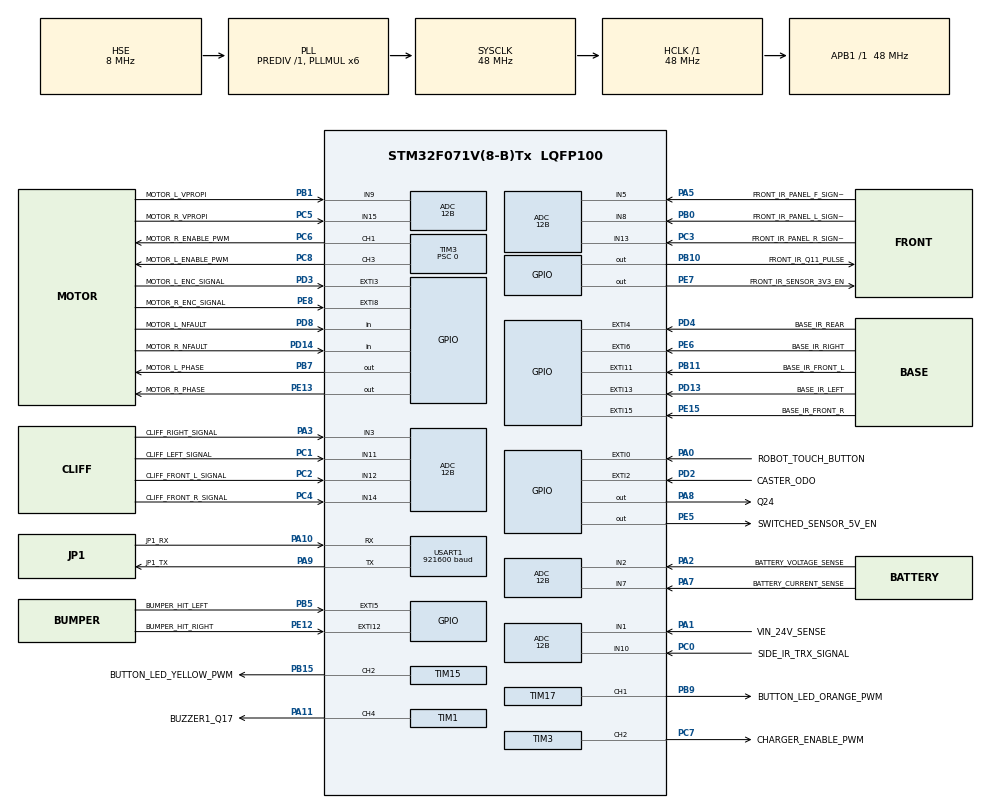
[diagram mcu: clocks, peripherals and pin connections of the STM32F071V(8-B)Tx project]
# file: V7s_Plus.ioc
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ADC.Channel-0\#ChannelRegularConversion=ADC_CHANNEL_9
ADC.Channel-1\#ChannelRegularConversion=ADC_CHANNEL_15
ADC.Channel-10\#ChannelRegularConversion=ADC_CHANNEL_7
ADC.Channel-11\#ChannelRegularConversion=ADC_CHANNEL_2
ADC.Channel-12\#ChannelRegularConversion=ADC_CHANNEL_1
ADC.Channel-2\#ChannelRegularConversion=ADC_CHANNEL_13
ADC.Channel-3\#ChannelRegularConversion=ADC_CHANNEL_5
ADC.Channel-4\#ChannelRegularConversion=ADC_CHANNEL_8
ADC.Channel-5\#ChannelRegularConversion=ADC_CHANNEL_3
ADC.Channel-6\#ChannelRegularConversion=ADC_CHANNEL_10
ADC.Channel-7\#ChannelRegularConversion=ADC_CHANNEL_11
ADC.Channel-8\#ChannelRegularConversion=ADC_CHANNEL_12
ADC.Channel-9\#ChannelRegularConversion=ADC_CHANNEL_14
ADC.ClockPrescaler=ADC_CLOCK_ASYNC_DIV1
ADC.ContinuousConvMode=DISABLE
ADC.DMAContinuousRequests=DISABLE
ADC.DataAlign=ADC_DATAALIGN_RIGHT
ADC.DiscontinuousConvMode=DISABLE
ADC.EOCSelection=ADC_EOC_SINGLE_CONV
ADC.ExternalTrigConv=ADC_EXTERNALTRIGCONV_T2_TRGO
ADC.ExternalTrigConvEdge=ADC_EXTERNALTRIGCONVEDGE_RISING
ADC.LowPowerAutoPowerOff=DISABLE
ADC.LowPowerAutoWait=DISABLE
ADC.NbrOfConversion=13
ADC.NbrOfConversionFlag=1
ADC.Overrun=ADC_OVR_DATA_PRESERVED
ADC.Rank-0\#ChannelRegularConversion=ADC_RANK_CHANNEL_NUMBER
ADC.Rank-1\#ChannelRegularConversion=ADC_RANK_CHANNEL_NUMBER
ADC.Rank-10\#ChannelRegularConversion=ADC_RANK_CHANNEL_NUMBER
ADC.Rank-11\#ChannelRegularConversion=ADC_RANK_CHANNEL_NUMBER
ADC.Rank-12\#ChannelRegularConversion=ADC_RANK_CHANNEL_NUMBER
ADC.Rank-2\#ChannelRegularConversion=ADC_RANK_CHANNEL_NUMBER
ADC.Rank-3\#ChannelRegularConversion=ADC_RANK_CHANNEL_NUMBER
ADC.Rank-4\#ChannelRegularConversion=ADC_RANK_CHANNEL_NUMBER
ADC.Rank-5\#ChannelRegularConversion=ADC_RANK_CHANNEL_NUMBER
ADC.Rank-6\#ChannelRegularConversion=ADC_RANK_CHANNEL_NUMBER
ADC.Rank-7\#ChannelRegularConversion=ADC_RANK_CHANNEL_NUMBER
ADC.Rank-8\#ChannelRegularConversion=ADC_RANK_CHANNEL_NUMBER
ADC.Rank-9\#ChannelRegularConversion=ADC_RANK_CHANNEL_NUMBER
ADC.Resolution=ADC_RESOLUTION_12B
ADC.SamplingTime-0\#ChannelRegularConversion=ADC_SAMPLETIME_239CYCLES_5
ADC.SamplingTime-1\#ChannelRegularConversion=ADC_SAMPLETIME_239CYCLES_5
ADC.SamplingTime-10\#ChannelRegularConversion=ADC_SAMPLETIME_239CYCLES_5
ADC.SamplingTime-11\#ChannelRegularConversion=ADC_SAMPLETIME_239CYCLES_5
ADC.SamplingTime-12\#ChannelRegularConversion=ADC_SAMPLETIME_239CYCLES_5
ADC.SamplingTime-2\#ChannelRegularConversion=ADC_SAMPLETIME_239CYCLES_5
ADC.SamplingTime-3\#ChannelRegularConversion=ADC_SAMPLETIME_239CYCLES_5
ADC.SamplingTime-4\#ChannelRegularConversion=ADC_SAMPLETIME_239CYCLES_5
ADC.SamplingTime-5\#ChannelRegularConversion=ADC_SAMPLETIME_239CYCLES_5
ADC.SamplingTime-6\#ChannelRegularConversion=ADC_SAMPLETIME_239CYCLES_5
ADC.SamplingTime-7\#ChannelRegularConversion=ADC_SAMPLETIME_239CYCLES_5
ADC.SamplingTime-8\#ChannelRegularConversion=ADC_SAMPLETIME_239CYCLES_5
ADC.SamplingTime-9\#ChannelRegularConversion=ADC_SAMPLETIME_239CYCLES_5
ADC.ScanConvMode=ADC_SCAN_DIRECTION_FORWARD
ADC.master=1
Dma.Request0=USART1_RX
Dma.USART1_RX.0.Direction=DMA_PERIPH_TO_MEMORY
Dma.USART1_RX.0.Instance=DMA1_Channel3
Dma.USART1_RX.0.MemDataAlignment=DMA_MDATAALIGN_BYTE
Dma.USART1_RX.0.MemInc=DMA_MINC_ENABLE
Dma.USART1_RX.0.Mode=DMA_CIRCULAR
Dma.USART1_RX.0.PeriphDataAlignment=DMA_PDATAALIGN_BYTE
Dma.USART1_RX.0.PeriphInc=DMA_PINC_DISABLE
Dma.USART1_RX.0.Priority=DMA_PRIORITY_LOW
Mcu.Family=STM32F0
Mcu.Name=STM32F071V(8-B)Tx
Mcu.Package=LQFP100
NVIC.DMA1_Channel2_3_IRQn=true\:2\:0\:true\:false\:true\:false\:true\:true
NVIC.EXTI0_1_IRQn=true\:1\:0\:true\:false\:true\:true\:true\:true
NVIC.EXTI2_3_IRQn=true\:2\:0\:true\:false\:true\:true\:true\:true
NVIC.EXTI4_15_IRQn=true\:1\:0\:true\:false\:true\:true\:true\:true
PA0.GPIO_Label=ROBOT_TOUCH_BUTTON
PA0.GPIO_ModeDefaultEXTI=GPIO_MODE_IT_RISING_FALLING
PA0.GPIO_PuPd=GPIO_NOPULL
PA0.Signal=GPXTI0
PA1.GPIO_Label=VIN_24V_SENSE
PA1.Mode=IN1
PA1.Signal=ADC_IN1
PA10.GPIO_Label=JP1_RX
PA10.Mode=Asynchronous
PA10.Signal=USART1_RX
PA11.GPIO_Label=BUZZER1_Q17
PA11.Signal=S_TIM1_CH4
PA13.Mode=Serial_Wire
PA13.Signal=SYS_SWDIO
PA14.Mode=Serial_Wire
PA14.Signal=SYS_SWCLK
PA2.GPIO_Label=BATTERY_VOLTAGE_SENSE
PA2.Mode=IN2
PA2.Signal=ADC_IN2
PA3.GPIO_Label=CLIFF_RIGHT_SIGNAL
PA3.Mode=IN3
PA3.Signal=ADC_IN3
PA5.GPIO_Label=FRONT_IR_PANEL_F_SIGNAL
PA5.Mode=IN5
PA5.Signal=ADC_IN5
PA7.GPIO_Label=BATTERY_CURRENT_SENSE
PA7.Mode=IN7
PA7.Signal=ADC_IN7
PA8.GPIO_Label=Q24
PA8.GPIO_ModeDefaultOutputPP=GPIO_MODE_OUTPUT_OD
PA8.GPIO_PuPd=GPIO_NOPULL
PA8.PinState=GPIO_PIN_SET
PA8.Signal=GPIO_Output
PA9.GPIO_Label=JP1_TX
PA9.Mode=Asynchronous
PA9.Signal=USART1_TX
PB0.GPIO_Label=FRONT_IR_PANEL_L_SIGNAL
PB0.Mode=IN8
PB0.Signal=ADC_IN8
PB1.GPIO_Label=MOTOR_L_VPROPI
PB1.Mode=IN9
PB1.Signal=ADC_IN9
PB10.GPIO_Label=FRONT_IR_Q11_PULSE
PB10.PinState=GPIO_PIN_RESET
PB10.Signal=GPIO_Output
PB11.GPIO_Label=BASE_IR_FRONT_L
PB11.GPIO_ModeDefaultEXTI=GPIO_MODE_IT_RISING_FALLING
PB11.GPIO_PuPd=GPIO_PULLUP
PB11.Signal=GPXTI11
PB15.GPIO_Label=BUTTON_LED_YELLOW_PWM
PB15.Signal=S_TIM15_CH2
PB5.GPIO_Label=BUMPER_HIT_LEFT
PB5.GPIO_ModeDefaultEXTI=GPIO_MODE_IT_RISING_FALLING
PB5.GPIO_PuPd=GPIO_PULLUP
PB5.Signal=GPXTI5
PB7.GPIO_Label=MOTOR_L_PHASE
PB7.GPIO_PuPd=GPIO_NOPULL
PB7.PinState=GPIO_PIN_RESET
PB7.Signal=GPIO_Output
PB9.GPIO_Label=BUTTON_LED_ORANGE_PWM
PB9.Signal=S_TIM17_CH1
PC0.GPIO_Label=SIDE_IR_TRX_SIGNAL
PC0.Mode=IN10
PC0.Signal=ADC_IN10
PC1.GPIO_Label=CLIFF_LEFT_SIGNAL
PC1.Mode=IN11
PC1.Signal=ADC_IN11
PC2.GPIO_Label=CLIFF_FRONT_L_SIGNAL
PC2.Mode=IN12
PC2.Signal=ADC_IN12
PC3.GPIO_Label=FRONT_IR_PANEL_R_SIGNAL
PC3.Mode=IN13
PC3.Signal=ADC_IN13
PC4.GPIO_Label=CLIFF_FRONT_R_SIGNAL
PC4.Mode=IN14
PC4.Signal=ADC_IN14
PC5.GPIO_Label=MOTOR_R_VPROPI
PC5.Mode=IN15
PC5.Signal=ADC_IN15
PC6.GPIO_Label=MOTOR_R_ENABLE_PWM
PC6.Signal=S_TIM3_CH1
PC7.GPIO_Label=CHARGER_ENABLE_PWM
PC7.Signal=S_TIM3_CH2
PC8.GPIO_Label=MOTOR_L_ENABLE_PWM
PC8.Signal=S_TIM3_CH3
PD13.GPIO_Label=BASE_IR_LEFT
PD13.GPIO_ModeDefaultEXTI=GPIO_MODE_IT_RISING_FALLING
PD13.GPIO_PuPd=GPIO_PULLUP
PD13.Signal=GPXTI13
PD14.GPIO_Label=MOTOR_R_NFAULT
PD14.GPIO_PuPd=GPIO_PULLUP
PD14.Signal=GPIO_Input
PD2.GPIO_Label=CASTER_ODO
PD2.GPIO_ModeDefaultEXTI=GPIO_MODE_IT_RISING_FALLING
PD2.GPIO_PuPd=GPIO_PULLUP
PD2.Signal=GPXTI2
PD3.GPIO_Label=MOTOR_L_ENC_SIGNAL
PD3.GPIO_ModeDefaultEXTI=GPIO_MODE_IT_RISING_FALLING
PD3.GPIO_PuPd=GPIO_PULLUP
PD3.Signal=GPXTI3
PD4.GPIO_Label=BASE_IR_REAR
PD4.GPIO_ModeDefaultEXTI=GPIO_MODE_IT_RISING_FALLING
PD4.GPIO_PuPd=GPIO_PULLUP
PD4.Signal=GPXTI4
PD8.GPIO_Label=MOTOR_L_NFAULT
PD8.GPIO_PuPd=GPIO_PULLUP
PD8.Signal=GPIO_Input
PE12.GPIO_Label=BUMPER_HIT_RIGHT
PE12.GPIO_ModeDefaultEXTI=GPIO_MODE_IT_RISING_FALLING
PE12.GPIO_PuPd=GPIO_PULLUP
PE12.Signal=GPXTI12
PE13.GPIO_Label=MOTOR_R_PHASE
PE13.GPIO_PuPd=GPIO_NOPULL
PE13.PinState=GPIO_PIN_RESET
PE13.Signal=GPIO_Output
PE15.GPIO_Label=BASE_IR_FRONT_R
PE15.GPIO_ModeDefaultEXTI=GPIO_MODE_IT_RISING_FALLING
PE15.GPIO_PuPd=GPIO_PULLUP
PE15.Signal=GPXTI15
PE5.GPIO_Label=SWITCHED_SENSOR_5V_EN
PE5.PinState=GPIO_PIN_RESET
PE5.Signal=GPIO_Output
PE6.GPIO_Label=BASE_IR_RIGHT
PE6.GPIO_ModeDefaultEXTI=GPIO_MODE_IT_RISING_FALLING
PE6.GPIO_PuPd=GPIO_PULLUP
PE6.Signal=GPXTI6
PE7.GPIO_Label=FRONT_IR_SENSOR_3V3_EN
PE7.PinState=GPIO_PIN_RESET
PE7.Signal=GPIO_Output
PE8.GPIO_Label=MOTOR_R_ENC_SIGNAL
PE8.GPIO_ModeDefaultEXTI=GPIO_MODE_IT_RISING_FALLING
PE8.GPIO_PuPd=GPIO_PULLUP
PE8.Signal=GPXTI8
PF0-OSC_IN.Mode=HSE-External-Oscillator
PF0-OSC_IN.Signal=RCC_OSC_IN
PF1-OSC_OUT.Mode=HSE-External-Oscillator
PF1-OSC_OUT.Signal=RCC_OSC_OUT
ProjectManager.HeapSize=0x200
ProjectManager.StackSize=0x400
ProjectManager.TargetToolchain=STM32CubeIDE
RCC.AHBFreq_Value=48000000
RCC.APB1Freq_Value=48000000
RCC.APB1TimFreq_Value=48000000
RCC.HCLKFreq_Value=48000000
RCC.PLLMUL=RCC_PLL_MUL6
RCC.PLLSourceVirtual=RCC_PLLSOURCE_HSE
RCC.SYSCLKFreq_VALUE=48000000
RCC.SYSCLKSource=RCC_SYSCLKSOURCE_PLLCLK
SH.S_TIM15_CH2.0=TIM15_CH2,PWM Generation2 CH2
SH.S_TIM17_CH1.0=TIM17_CH1,PWM Generation1 CH1
SH.S_TIM1_CH4.0=TIM1_CH4,PWM Generation4 CH4
SH.S_TIM3_CH1.0=TIM3_CH1,PWM Generation1 CH1
SH.S_TIM3_CH2.0=TIM3_CH2,PWM Generation2 CH2
SH.S_TIM3_CH3.0=TIM3_CH3,PWM Generation3 CH3
TIM1.AutoReloadPreload=TIM_AUTORELOAD_PRELOAD_DISABLE
TIM1.Channel-PWM\ Generation4\ CH4=TIM_CHANNEL_4
TIM1.CounterMode=TIM_COUNTERMODE_UP
TIM1.OCFastMode_PWM-PWM\ Generation4\ CH4=TIM_OCFAST_DISABLE
TIM1.OCMode_PWM-PWM\ Generation4\ CH4=TIM_OCMODE_PWM1
TIM1.OCPolarity_4=TIM_OCPOLARITY_HIGH
TIM1.Period=999
TIM1.Prescaler=47
TIM1.Pulse-PWM\ Generation4\ CH4=0
TIM15.AutoReloadPreload=TIM_AUTORELOAD_PRELOAD_DISABLE
TIM15.Channel-PWM\ Generation2\ CH2=TIM_CHANNEL_2
TIM15.CounterMode=TIM_COUNTERMODE_UP
TIM15.OCFastMode_PWM-PWM\ Generation2\ CH2=TIM_OCFAST_DISABLE
TIM15.OCMode_PWM-PWM\ Generation2\ CH2=TIM_OCMODE_PWM1
TIM15.OCPolarity_2=TIM_OCPOLARITY_LOW
TIM15.Period=999
TIM15.Prescaler=47
TIM15.Pulse-PWM\ Generation2\ CH2=0
TIM17.AutoReloadPreload=TIM_AUTORELOAD_PRELOAD_DISABLE
TIM17.Channel=TIM_CHANNEL_1
TIM17.CounterMode=TIM_COUNTERMODE_UP
TIM17.OCPolarity_1=TIM_OCPOLARITY_LOW
TIM17.Period=999
TIM17.Prescaler=47
TIM17.Pulse=0
TIM2.AutoReloadPreload=TIM_AUTORELOAD_PRELOAD_ENABLE
TIM2.Channel-Output\ Compare3\ No\ Output=TIM_CHANNEL_3
TIM2.CounterMode=TIM_COUNTERMODE_UP
TIM2.OCMode_3=TIM_OCMODE_TOGGLE
TIM2.OCPolarity_3=TIM_OCPOLARITY_HIGH
TIM2.Period=23999
TIM2.Prescaler=0
TIM2.Pulse-Output\ Compare3\ No\ Output=12000
TIM2.TIM_MasterOutputTrigger=TIM_TRGO_UPDATE
TIM3.AutoReloadPreload=TIM_AUTORELOAD_PRELOAD_DISABLE
TIM3.Channel-PWM\ Generation1\ CH1=TIM_CHANNEL_1
TIM3.Channel-PWM\ Generation2\ CH2=TIM_CHANNEL_2
TIM3.Channel-PWM\ Generation3\ CH3=TIM_CHANNEL_3
TIM3.CounterMode=TIM_COUNTERMODE_UP
TIM3.OCFastMode_PWM-PWM\ Generation1\ CH1=TIM_OCFAST_DISABLE
TIM3.OCFastMode_PWM-PWM\ Generation2\ CH2=TIM_OCFAST_DISABLE
TIM3.OCFastMode_PWM-PWM\ Generation3\ CH3=TIM_OCFAST_DISABLE
TIM3.OCMode_PWM-PWM\ Generation1\ CH1=TIM_OCMODE_PWM1
TIM3.OCMode_PWM-PWM\ Generation2\ CH2=TIM_OCMODE_PWM1
TIM3.OCMode_PWM-PWM\ Generation3\ CH3=TIM_OCMODE_PWM1
TIM3.OCPolarity_1=TIM_OCPOLARITY_HIGH
TIM3.OCPolarity_2=TIM_OCPOLARITY_HIGH
TIM3.OCPolarity_3=TIM_OCPOLARITY_HIGH
TIM3.Period=2399
TIM3.Prescaler=0
TIM3.Pulse-PWM\ Generation1\ CH1=0
TIM3.Pulse-PWM\ Generation2\ CH2=0
TIM3.Pulse-PWM\ Generation3\ CH3=0
TIM6.Prescaler=47
USART1.BaudRate=921600
USART1.VirtualMode-Asynchronous=VM_ASYNC
VP_TIM17_VS_ClockSourceINT.Mode=Enable_Timer
VP_TIM2_VS_no_output3.Mode=Output Compare3 No Output
VP_TIM6_VS_ClockSourceINT.Mode=Enable_Timer
board=custom

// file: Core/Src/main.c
/* USER CODE BEGIN Header */
/**
  ******************************************************************************
  * @file           : main.c
  * @brief          : Main program body
  ******************************************************************************
  * @attention
  *
  * Copyright (c) 2026 STMicroelectronics.
  * All rights reserved.
  *
  * This software is licensed under terms that can be found in the LICENSE file
  * in the root directory of this software component.
  * If no LICENSE file comes with this software, it is provided AS-IS.
  *
  ******************************************************************************
  */
/* USER CODE END Header */
#include "main.h"

/* USER CODE BEGIN Includes */
#include "motor_control.h"
#include "front_ir_bumper.h"
#include "console.h"
#include "cmd.h"
#include "buzzer.h"
#include "cliff_ir.h"
#include "base_ir.h"
#include "bumper_hit.h"
#include "caster_odo.h"
#include "ir_remote.h"
#include "modbus_slave.h"
#include "robot_button.h"
#include "docking.h"
#include "charge_control.h"

/* USER CODE END Includes */

/* USER CODE BEGIN PD */
#define MOTOR_TEST_FORWARD_REV 2.0f
#define MOTOR_TEST_BACKWARD_REV -2.0f
#define MOTOR_TEST_SPEED_RPM 80.0f
#define MOTOR_TEST_MOVE_TIMEOUT_MS 8000
#define MOTOR_TEST_PAUSE_MS 700
#define MOTOR_TEST_ENABLE 0

/* USER CODE END PD */

ADC_HandleTypeDef hadc;

TIM_HandleTypeDef htim1;
TIM_HandleTypeDef htim2;
TIM_HandleTypeDef htim3;
TIM_HandleTypeDef htim6;
TIM_HandleTypeDef htim15;
TIM_HandleTypeDef htim17;

UART_HandleTypeDef huart1;
DMA_HandleTypeDef hdma_usart1_rx;

/* USER CODE BEGIN PV */
#if MOTOR_TEST_ENABLE
static uint8_t s_motor_test_step = 0;
static uint32_t s_motor_test_deadline_ms = 0;
#endif

/* USER CODE END PV */

void SystemClock_Config(void);
static void MX_GPIO_Init(void);
static void MX_DMA_Init(void);
static void MX_ADC_Init(void);
static void MX_TIM1_Init(void);
static void MX_TIM2_Init(void);
static void MX_TIM3_Init(void);
static void MX_TIM6_Init(void);
static void MX_TIM15_Init(void);
static void MX_TIM17_Init(void);
static void MX_USART1_UART_Init(void);

int main(void)
{

  /* MCU Configuration--------------------------------------------------------*/

  /* Reset of all peripherals, Initializes the Flash interface and the Systick. */
  HAL_Init();

  /* Configure the system clock */
  SystemClock_Config();

  /* Initialize all configured peripherals */
  MX_GPIO_Init();
  MX_DMA_Init();
  MX_ADC_Init();
  MX_TIM1_Init();
  MX_TIM2_Init();
  MX_TIM3_Init();
  MX_TIM6_Init();
  MX_TIM15_Init();
  MX_TIM17_Init();
  MX_USART1_UART_Init();
  /* USER CODE BEGIN 2 */
#if MOTOR_TEST_ENABLE
  MotorControl_Init(&htim3, &hadc);
  MotorControl_MoveWheelRelative(MOTOR_TEST_FORWARD_REV, MOTOR_TEST_SPEED_RPM);
  MotorControl_MoveRightWheelRelative(MOTOR_TEST_FORWARD_REV, MOTOR_TEST_SPEED_RPM);
  s_motor_test_step = 1;
  s_motor_test_deadline_ms = HAL_GetTick() + MOTOR_TEST_MOVE_TIMEOUT_MS;
#else
  FrontIrBumper_Init(&hadc, &htim2);
  CliffIr_Init();   /* cliff x4 + side IR data model; all 5 live via the 8-ch front scan */
  BaseIr_Init();    /* 5 dock/base IR-beacon receivers (polled) for homing direction */
  BumperHit_Init(); /* PB5/PE12 impact sensors on EXTI -> instant latched hit status */
  CasterOdo_Init(); /* J20 front-caster odometry: U10 OUT1 -> PD2 EXTI2 edge counter */
  IrRemote_Init(&htim6); /* timestamp all five base-IR EXTI edges at 1 us */
  MotorControl_Init(&htim3, &hadc);  /* wheels: PWM TIM3 + encoders (ADC handle unused) */
  ChargeControl_Init(&htim3); /* PC7/TIM3_CH2: 20 kHz active-high charger PWM */
  Docking_Init(); /* slow local base-IR homing; remains idle until Modbus coil 4 */
  RobotButton_Init(&htim15, &htim17); /* J12 touch + two hardware-PWM LED channels */
  Console_Init();   /* USART1 (JP1) RX DMA ring + IRQ-driven TX ring */
  ModbusSlave_Init(); /* ESP32-S3 Modbus RTU slave, address 1 */
  Cmd_Init();
  Cmd_Banner();
  Buzzer_Init();    /* BUZZER1 on PA11 = TIM1_CH4 (driver-owned) */
  Buzzer_Play(BUZZER_MELODY_BOOT);
#endif

  /* USER CODE END 2 */

  /* Infinite loop */
  while (1)
  {

    /* USER CODE BEGIN 3 */
#if MOTOR_TEST_ENABLE
    MotorControl_Task();
    MotorControlStatus motor_status;
    MotorControl_GetStatus(&motor_status);

    if (s_motor_test_step == 1)
    {
      if ((motor_status.mode == MOTOR_CONTROL_MODE_OFF) && !MotorControl_IsRightBusy())
      {
        s_motor_test_step = 2;
        s_motor_test_deadline_ms = HAL_GetTick() + MOTOR_TEST_PAUSE_MS;
      }
      else if ((int32_t)(HAL_GetTick() - s_motor_test_deadline_ms) >= 0)
      {
        MotorControl_Stop();
        s_motor_test_step = 2;
        s_motor_test_deadline_ms = HAL_GetTick() + MOTOR_TEST_PAUSE_MS;
      }
    }
    else if (s_motor_test_step == 2)
    {
      if ((int32_t)(HAL_GetTick() - s_motor_test_deadline_ms) >= 0)
      {
        MotorControl_MoveWheelRelative(MOTOR_TEST_BACKWARD_REV, MOTOR_TEST_SPEED_RPM);
        MotorControl_MoveRightWheelRelative(MOTOR_TEST_BACKWARD_REV, MOTOR_TEST_SPEED_RPM);
        s_motor_test_step = 3;
        s_motor_test_deadline_ms = HAL_GetTick() + MOTOR_TEST_MOVE_TIMEOUT_MS;
      }
    }
    else if (s_motor_test_step == 3)
    {
      if ((motor_status.mode == MOTOR_CONTROL_MODE_OFF) && !MotorControl_IsRightBusy())
      {
        s_motor_test_step = 4;
      }
      else if ((int32_t)(HAL_GetTick() - s_motor_test_deadline_ms) >= 0)
      {
        MotorControl_Stop();
        s_motor_test_step = 4;
      }
    }
#else
    FrontIrBumper_Task();
    CliffIr_Task();
    BaseIr_Task();        /* poll the 5 dock-beacon receivers (homing strength) */
    RobotButton_Task();   /* debounce PA0; a press toggles the normal enable state */
    Docking_Task();       /* local low-speed IR homing, guarded by all safety inputs */
    MotorControl_Task();  /* brakes on a latched bumper hit (checked inside) */
    ChargeControl_Task(); /* 20 ms safe soft-start, CC/CV and hard-limit charger loop */
    {
      uint8_t rx_c; int rx_port;
      while (Console_ReadByte(&rx_c, &rx_port))
      {
        if (!ModbusSlave_FeedByte(rx_c)) Cmd_FeedByte(rx_port, (char)rx_c);
      }
      ModbusSlave_Task();
      Cmd_StreamTask();
      Buzzer_Task();
    }
#endif
  }
  /* USER CODE END 3 */
}

void SystemClock_Config(void)
{
  RCC_OscInitTypeDef RCC_OscInitStruct = {0};
  RCC_ClkInitTypeDef RCC_ClkInitStruct = {0};
  RCC_PeriphCLKInitTypeDef PeriphClkInit = {0};

  /** Initializes the RCC Oscillators according to the specified parameters
  * in the RCC_OscInitTypeDef structure.
  */
  RCC_OscInitStruct.OscillatorType = RCC_OSCILLATORTYPE_HSI14|RCC_OSCILLATORTYPE_HSE;
  RCC_OscInitStruct.HSEState = RCC_HSE_ON;
  RCC_OscInitStruct.HSI14State = RCC_HSI14_ON;
  RCC_OscInitStruct.HSI14CalibrationValue = 16;
  RCC_OscInitStruct.PLL.PLLState = RCC_PLL_ON;
  RCC_OscInitStruct.PLL.PLLSource = RCC_PLLSOURCE_HSE;
  RCC_OscInitStruct.PLL.PLLMUL = RCC_PLL_MUL6;
  RCC_OscInitStruct.PLL.PREDIV = RCC_PREDIV_DIV1;
  if (HAL_RCC_OscConfig(&RCC_OscInitStruct) != HAL_OK)
  {
    Error_Handler();
  }

  /** Initializes the CPU, AHB and APB buses clocks
  */
  RCC_ClkInitStruct.ClockType = RCC_CLOCKTYPE_HCLK|RCC_CLOCKTYPE_SYSCLK
                              |RCC_CLOCKTYPE_PCLK1;
  RCC_ClkInitStruct.SYSCLKSource = RCC_SYSCLKSOURCE_PLLCLK;
  RCC_ClkInitStruct.AHBCLKDivider = RCC_SYSCLK_DIV1;
  RCC_ClkInitStruct.APB1CLKDivider = RCC_HCLK_DIV1;

  if (HAL_RCC_ClockConfig(&RCC_ClkInitStruct, FLASH_LATENCY_1) != HAL_OK)
  {
    Error_Handler();
  }
  PeriphClkInit.PeriphClockSelection = RCC_PERIPHCLK_USART1;
  PeriphClkInit.Usart1ClockSelection = RCC_USART1CLKSOURCE_PCLK1;
  if (HAL_RCCEx_PeriphCLKConfig(&PeriphClkInit) != HAL_OK)
  {
    Error_Handler();
  }
}

static void MX_ADC_Init(void)
{

  ADC_ChannelConfTypeDef sConfig = {0};

  /** Configure the global features of the ADC (Clock, Resolution, Data Alignment and number of conversion)
  */
  hadc.Instance = ADC1;
  hadc.Init.ClockPrescaler = ADC_CLOCK_ASYNC_DIV1;
  hadc.Init.Resolution = ADC_RESOLUTION_12B;
  hadc.Init.DataAlign = ADC_DATAALIGN_RIGHT;
  hadc.Init.ScanConvMode = ADC_SCAN_DIRECTION_FORWARD;
  hadc.Init.EOCSelection = ADC_EOC_SINGLE_CONV;
  hadc.Init.LowPowerAutoWait = DISABLE;
  hadc.Init.LowPowerAutoPowerOff = DISABLE;
  hadc.Init.ContinuousConvMode = DISABLE;
  hadc.Init.DiscontinuousConvMode = DISABLE;
  hadc.Init.ExternalTrigConv = ADC_EXTERNALTRIGCONV_T2_TRGO;
  hadc.Init.ExternalTrigConvEdge = ADC_EXTERNALTRIGCONVEDGE_RISING;
  hadc.Init.DMAContinuousRequests = DISABLE;
  hadc.Init.Overrun = ADC_OVR_DATA_PRESERVED;
  if (HAL_ADC_Init(&hadc) != HAL_OK)
  {
    Error_Handler();
  }

  /** Configure for the selected ADC regular channel to be converted.
  */
  sConfig.Channel = ADC_CHANNEL_1;
  sConfig.Rank = ADC_RANK_CHANNEL_NUMBER;
  sConfig.SamplingTime = ADC_SAMPLETIME_239CYCLES_5;
  if (HAL_ADC_ConfigChannel(&hadc, &sConfig) != HAL_OK)
  {
    Error_Handler();
  }

  /** Configure for the selected ADC regular channel to be converted.
  */
  sConfig.Channel = ADC_CHANNEL_2;
  if (HAL_ADC_ConfigChannel(&hadc, &sConfig) != HAL_OK)
  {
    Error_Handler();
  }

  /** Configure for the selected ADC regular channel to be converted.
  */
  sConfig.Channel = ADC_CHANNEL_3;
  if (HAL_ADC_ConfigChannel(&hadc, &sConfig) != HAL_OK)
  {
    Error_Handler();
  }

  /** Configure for the selected ADC regular channel to be converted.
  */
  sConfig.Channel = ADC_CHANNEL_5;
  if (HAL_ADC_ConfigChannel(&hadc, &sConfig) != HAL_OK)
  {
    Error_Handler();
  }

  /** Configure for the selected ADC regular channel to be converted.
  */
  sConfig.Channel = ADC_CHANNEL_7;
  if (HAL_ADC_ConfigChannel(&hadc, &sConfig) != HAL_OK)
  {
    Error_Handler();
  }

  /** Configure for the selected ADC regular channel to be converted.
  */
  sConfig.Channel = ADC_CHANNEL_8;
  if (HAL_ADC_ConfigChannel(&hadc, &sConfig) != HAL_OK)
  {
    Error_Handler();
  }

  /** Configure for the selected ADC regular channel to be converted.
  */
  sConfig.Channel = ADC_CHANNEL_9;
  if (HAL_ADC_ConfigChannel(&hadc, &sConfig) != HAL_OK)
  {
    Error_Handler();
  }

  /** Configure for the selected ADC regular channel to be converted.
  */
  sConfig.Channel = ADC_CHANNEL_10;
  if (HAL_ADC_ConfigChannel(&hadc, &sConfig) != HAL_OK)
  {
    Error_Handler();
  }

  /** Configure for the selected ADC regular channel to be converted.
  */
  sConfig.Channel = ADC_CHANNEL_11;
  if (HAL_ADC_ConfigChannel(&hadc, &sConfig) != HAL_OK)
  {
    Error_Handler();
  }

  /** Configure for the selected ADC regular channel to be converted.
  */
  sConfig.Channel = ADC_CHANNEL_12;
  if (HAL_ADC_ConfigChannel(&hadc, &sConfig) != HAL_OK)
  {
    Error_Handler();
  }

  /** Configure for the selected ADC regular channel to be converted.
  */
  sConfig.Channel = ADC_CHANNEL_13;
  if (HAL_ADC_ConfigChannel(&hadc, &sConfig) != HAL_OK)
  {
    Error_Handler();
  }

  /** Configure for the selected ADC regular channel to be converted.
  */
  sConfig.Channel = ADC_CHANNEL_14;
  if (HAL_ADC_ConfigChannel(&hadc, &sConfig) != HAL_OK)
  {
    Error_Handler();
  }

  /** Configure for the selected ADC regular channel to be converted.
  */
  sConfig.Channel = ADC_CHANNEL_15;
  if (HAL_ADC_ConfigChannel(&hadc, &sConfig) != HAL_OK)
  {
    Error_Handler();
  }

}

static void MX_TIM1_Init(void)
{

  TIM_MasterConfigTypeDef sMasterConfig = {0};
  TIM_OC_InitTypeDef sConfigOC = {0};
  TIM_BreakDeadTimeConfigTypeDef sBreakDeadTimeConfig = {0};

  htim1.Instance = TIM1;
  htim1.Init.Prescaler = 47;
  htim1.Init.CounterMode = TIM_COUNTERMODE_UP;
  htim1.Init.Period = 999;
  htim1.Init.ClockDivision = TIM_CLOCKDIVISION_DIV1;
  htim1.Init.RepetitionCounter = 0;
  htim1.Init.AutoReloadPreload = TIM_AUTORELOAD_PRELOAD_DISABLE;
  if (HAL_TIM_PWM_Init(&htim1) != HAL_OK)
  {
    Error_Handler();
  }
  sMasterConfig.MasterOutputTrigger = TIM_TRGO_RESET;
  sMasterConfig.MasterSlaveMode = TIM_MASTERSLAVEMODE_DISABLE;
  if (HAL_TIMEx_MasterConfigSynchronization(&htim1, &sMasterConfig) != HAL_OK)
  {
    Error_Handler();
  }
  sConfigOC.OCMode = TIM_OCMODE_PWM1;
  sConfigOC.Pulse = 0;
  sConfigOC.OCPolarity = TIM_OCPOLARITY_HIGH;
  sConfigOC.OCFastMode = TIM_OCFAST_DISABLE;
  sConfigOC.OCIdleState = TIM_OCIDLESTATE_RESET;
  sConfigOC.OCNIdleState = TIM_OCNIDLESTATE_RESET;
  if (HAL_TIM_PWM_ConfigChannel(&htim1, &sConfigOC, TIM_CHANNEL_4) != HAL_OK)
  {
    Error_Handler();
  }
  sBreakDeadTimeConfig.OffStateRunMode = TIM_OSSR_DISABLE;
  sBreakDeadTimeConfig.OffStateIDLEMode = TIM_OSSI_DISABLE;
  sBreakDeadTimeConfig.LockLevel = TIM_LOCKLEVEL_OFF;
  sBreakDeadTimeConfig.DeadTime = 0;
  sBreakDeadTimeConfig.BreakState = TIM_BREAK_DISABLE;
  sBreakDeadTimeConfig.BreakPolarity = TIM_BREAKPOLARITY_HIGH;
  sBreakDeadTimeConfig.AutomaticOutput = TIM_AUTOMATICOUTPUT_DISABLE;
  if (HAL_TIMEx_ConfigBreakDeadTime(&htim1, &sBreakDeadTimeConfig) != HAL_OK)
  {
    Error_Handler();
  }
  HAL_TIM_MspPostInit(&htim1);

}

static void MX_TIM2_Init(void)
{

  TIM_MasterConfigTypeDef sMasterConfig = {0};
  TIM_OC_InitTypeDef sConfigOC = {0};

  htim2.Instance = TIM2;
  htim2.Init.Prescaler = 0;
  htim2.Init.CounterMode = TIM_COUNTERMODE_UP;
  htim2.Init.Period = 23999;
  htim2.Init.ClockDivision = TIM_CLOCKDIVISION_DIV1;
  htim2.Init.AutoReloadPreload = TIM_AUTORELOAD_PRELOAD_ENABLE;
  if (HAL_TIM_OC_Init(&htim2) != HAL_OK)
  {
    Error_Handler();
  }
  sMasterConfig.MasterOutputTrigger = TIM_TRGO_UPDATE;
  sMasterConfig.MasterSlaveMode = TIM_MASTERSLAVEMODE_DISABLE;
  if (HAL_TIMEx_MasterConfigSynchronization(&htim2, &sMasterConfig) != HAL_OK)
  {
    Error_Handler();
  }
  sConfigOC.OCMode = TIM_OCMODE_TOGGLE;
  sConfigOC.Pulse = 12000;
  sConfigOC.OCPolarity = TIM_OCPOLARITY_HIGH;
  sConfigOC.OCFastMode = TIM_OCFAST_DISABLE;
  if (HAL_TIM_OC_ConfigChannel(&htim2, &sConfigOC, TIM_CHANNEL_3) != HAL_OK)
  {
    Error_Handler();
  }

}

static void MX_TIM3_Init(void)
{

  TIM_MasterConfigTypeDef sMasterConfig = {0};
  TIM_OC_InitTypeDef sConfigOC = {0};

  htim3.Instance = TIM3;
  htim3.Init.Prescaler = 0;
  htim3.Init.CounterMode = TIM_COUNTERMODE_UP;
  htim3.Init.Period = 2399;
  htim3.Init.ClockDivision = TIM_CLOCKDIVISION_DIV1;
  htim3.Init.AutoReloadPreload = TIM_AUTORELOAD_PRELOAD_DISABLE;
  if (HAL_TIM_PWM_Init(&htim3) != HAL_OK)
  {
    Error_Handler();
  }
  sMasterConfig.MasterOutputTrigger = TIM_TRGO_RESET;
  sMasterConfig.MasterSlaveMode = TIM_MASTERSLAVEMODE_DISABLE;
  if (HAL_TIMEx_MasterConfigSynchronization(&htim3, &sMasterConfig) != HAL_OK)
  {
    Error_Handler();
  }
  sConfigOC.OCMode = TIM_OCMODE_PWM1;
  sConfigOC.Pulse = 0;
  sConfigOC.OCPolarity = TIM_OCPOLARITY_HIGH;
  sConfigOC.OCFastMode = TIM_OCFAST_DISABLE;
  if (HAL_TIM_PWM_ConfigChannel(&htim3, &sConfigOC, TIM_CHANNEL_1) != HAL_OK)
  {
    Error_Handler();
  }
  if (HAL_TIM_PWM_ConfigChannel(&htim3, &sConfigOC, TIM_CHANNEL_2) != HAL_OK)
  {
    Error_Handler();
  }
  if (HAL_TIM_PWM_ConfigChannel(&htim3, &sConfigOC, TIM_CHANNEL_3) != HAL_OK)
  {
    Error_Handler();
  }
  HAL_TIM_MspPostInit(&htim3);

}

static void MX_TIM6_Init(void)
{

  TIM_MasterConfigTypeDef sMasterConfig = {0};

  htim6.Instance = TIM6;
  htim6.Init.Prescaler = 47;
  htim6.Init.CounterMode = TIM_COUNTERMODE_UP;
  htim6.Init.Period = 65535;
  htim6.Init.AutoReloadPreload = TIM_AUTORELOAD_PRELOAD_DISABLE;
  if (HAL_TIM_Base_Init(&htim6) != HAL_OK)
  {
    Error_Handler();
  }
  sMasterConfig.MasterOutputTrigger = TIM_TRGO_RESET;
  sMasterConfig.MasterSlaveMode = TIM_MASTERSLAVEMODE_DISABLE;
  if (HAL_TIMEx_MasterConfigSynchronization(&htim6, &sMasterConfig) != HAL_OK)
  {
    Error_Handler();
  }

}

static void MX_TIM15_Init(void)
{

  TIM_MasterConfigTypeDef sMasterConfig = {0};
  TIM_OC_InitTypeDef sConfigOC = {0};
  TIM_BreakDeadTimeConfigTypeDef sBreakDeadTimeConfig = {0};

  htim15.Instance = TIM15;
  htim15.Init.Prescaler = 47;
  htim15.Init.CounterMode = TIM_COUNTERMODE_UP;
  htim15.Init.Period = 999;
  htim15.Init.ClockDivision = TIM_CLOCKDIVISION_DIV1;
  htim15.Init.RepetitionCounter = 0;
  htim15.Init.AutoReloadPreload = TIM_AUTORELOAD_PRELOAD_DISABLE;
  if (HAL_TIM_PWM_Init(&htim15) != HAL_OK)
  {
    Error_Handler();
  }
  sMasterConfig.MasterOutputTrigger = TIM_TRGO_RESET;
  sMasterConfig.MasterSlaveMode = TIM_MASTERSLAVEMODE_DISABLE;
  if (HAL_TIMEx_MasterConfigSynchronization(&htim15, &sMasterConfig) != HAL_OK)
  {
    Error_Handler();
  }
  sConfigOC.OCMode = TIM_OCMODE_PWM1;
  sConfigOC.Pulse = 0;
  sConfigOC.OCPolarity = TIM_OCPOLARITY_LOW;
  sConfigOC.OCNPolarity = TIM_OCNPOLARITY_HIGH;
  sConfigOC.OCFastMode = TIM_OCFAST_DISABLE;
  sConfigOC.OCIdleState = TIM_OCIDLESTATE_RESET;
  sConfigOC.OCNIdleState = TIM_OCNIDLESTATE_RESET;
  if (HAL_TIM_PWM_ConfigChannel(&htim15, &sConfigOC, TIM_CHANNEL_2) != HAL_OK)
  {
    Error_Handler();
  }
  sBreakDeadTimeConfig.OffStateRunMode = TIM_OSSR_DISABLE;
  sBreakDeadTimeConfig.OffStateIDLEMode = TIM_OSSI_DISABLE;
  sBreakDeadTimeConfig.LockLevel = TIM_LOCKLEVEL_OFF;
  sBreakDeadTimeConfig.DeadTime = 0;
  sBreakDeadTimeConfig.BreakState = TIM_BREAK_DISABLE;
  sBreakDeadTimeConfig.BreakPolarity = TIM_BREAKPOLARITY_HIGH;
  sBreakDeadTimeConfig.AutomaticOutput = TIM_AUTOMATICOUTPUT_DISABLE;
  if (HAL_TIMEx_ConfigBreakDeadTime(&htim15, &sBreakDeadTimeConfig) != HAL_OK)
  {
    Error_Handler();
  }
  HAL_TIM_MspPostInit(&htim15);

}

static void MX_TIM17_Init(void)
{

  TIM_OC_InitTypeDef sConfigOC = {0};
  TIM_BreakDeadTimeConfigTypeDef sBreakDeadTimeConfig = {0};

  htim17.Instance = TIM17;
  htim17.Init.Prescaler = 47;
  htim17.Init.CounterMode = TIM_COUNTERMODE_UP;
  htim17.Init.Period = 999;
  htim17.Init.ClockDivision = TIM_CLOCKDIVISION_DIV1;
  htim17.Init.RepetitionCounter = 0;
  htim17.Init.AutoReloadPreload = TIM_AUTORELOAD_PRELOAD_DISABLE;
  if (HAL_TIM_Base_Init(&htim17) != HAL_OK)
  {
    Error_Handler();
  }
  if (HAL_TIM_PWM_Init(&htim17) != HAL_OK)
  {
    Error_Handler();
  }
  sConfigOC.OCMode = TIM_OCMODE_PWM1;
  sConfigOC.Pulse = 0;
  sConfigOC.OCPolarity = TIM_OCPOLARITY_LOW;
  sConfigOC.OCNPolarity = TIM_OCNPOLARITY_HIGH;
  sConfigOC.OCFastMode = TIM_OCFAST_DISABLE;
  sConfigOC.OCIdleState = TIM_OCIDLESTATE_RESET;
  sConfigOC.OCNIdleState = TIM_OCNIDLESTATE_RESET;
  if (HAL_TIM_PWM_ConfigChannel(&htim17, &sConfigOC, TIM_CHANNEL_1) != HAL_OK)
  {
    Error_Handler();
  }
  sBreakDeadTimeConfig.OffStateRunMode = TIM_OSSR_DISABLE;
  sBreakDeadTimeConfig.OffStateIDLEMode = TIM_OSSI_DISABLE;
  sBreakDeadTimeConfig.LockLevel = TIM_LOCKLEVEL_OFF;
  sBreakDeadTimeConfig.DeadTime = 0;
  sBreakDeadTimeConfig.BreakState = TIM_BREAK_DISABLE;
  sBreakDeadTimeConfig.BreakPolarity = TIM_BREAKPOLARITY_HIGH;
  sBreakDeadTimeConfig.AutomaticOutput = TIM_AUTOMATICOUTPUT_DISABLE;
  if (HAL_TIMEx_ConfigBreakDeadTime(&htim17, &sBreakDeadTimeConfig) != HAL_OK)
  {
    Error_Handler();
  }
  HAL_TIM_MspPostInit(&htim17);

}

static void MX_USART1_UART_Init(void)
{

  huart1.Instance = USART1;
  huart1.Init.BaudRate = 921600;
  huart1.Init.WordLength = UART_WORDLENGTH_8B;
  huart1.Init.StopBits = UART_STOPBITS_1;
  huart1.Init.Parity = UART_PARITY_NONE;
  huart1.Init.Mode = UART_MODE_TX_RX;
  huart1.Init.HwFlowCtl = UART_HWCONTROL_NONE;
  huart1.Init.OverSampling = UART_OVERSAMPLING_16;
  huart1.Init.OneBitSampling = UART_ONE_BIT_SAMPLE_DISABLE;
  huart1.AdvancedInit.AdvFeatureInit = UART_ADVFEATURE_NO_INIT;
  if (HAL_UART_Init(&huart1) != HAL_OK)
  {
    Error_Handler();
  }

}

static void MX_DMA_Init(void)
{

  /* DMA controller clock enable */
  __HAL_RCC_DMA1_CLK_ENABLE();

  /* DMA interrupt init */
  /* DMA1_Channel2_3_IRQn interrupt configuration */
  HAL_NVIC_SetPriority(DMA1_Channel2_3_IRQn, 2, 0);
  HAL_NVIC_EnableIRQ(DMA1_Channel2_3_IRQn);

}

static void MX_GPIO_Init(void)
{
  GPIO_InitTypeDef GPIO_InitStruct = {0};
  /* USER CODE BEGIN MX_GPIO_Init_1 */
  __HAL_RCC_SYSCFG_CLK_ENABLE();   /* EXTI line routing (EXTICR) lives in SYSCFG on F0 */
  /* USER CODE END MX_GPIO_Init_1 */

  /* GPIO Ports Clock Enable */
  __HAL_RCC_GPIOE_CLK_ENABLE();
  __HAL_RCC_GPIOF_CLK_ENABLE();
  __HAL_RCC_GPIOC_CLK_ENABLE();
  __HAL_RCC_GPIOA_CLK_ENABLE();
  __HAL_RCC_GPIOB_CLK_ENABLE();
  __HAL_RCC_GPIOD_CLK_ENABLE();

  /*Configure GPIO pin Output Level */
  HAL_GPIO_WritePin(GPIOE, SWITCHED_SENSOR_5V_EN_Pin|FRONT_IR_SENSOR_3V3_EN_Pin|MOTOR_R_PHASE_Pin, GPIO_PIN_RESET);

  /*Configure GPIO pin Output Level */
  HAL_GPIO_WritePin(GPIOB, FRONT_IR_Q11_PULSE_Pin|MOTOR_L_PHASE_Pin, GPIO_PIN_RESET);

  /*Configure GPIO pin Output Level */
  HAL_GPIO_WritePin(Q24_GPIO_Port, Q24_Pin, GPIO_PIN_SET);

  /*Configure GPIO pins : SWITCHED_SENSOR_5V_EN_Pin FRONT_IR_SENSOR_3V3_EN_Pin MOTOR_R_PHASE_Pin */
  GPIO_InitStruct.Pin = SWITCHED_SENSOR_5V_EN_Pin|FRONT_IR_SENSOR_3V3_EN_Pin|MOTOR_R_PHASE_Pin;
  GPIO_InitStruct.Mode = GPIO_MODE_OUTPUT_PP;
  GPIO_InitStruct.Pull = GPIO_NOPULL;
  GPIO_InitStruct.Speed = GPIO_SPEED_FREQ_LOW;
  HAL_GPIO_Init(GPIOE, &GPIO_InitStruct);

  /*Configure GPIO pins : BASE_IR_RIGHT_Pin MOTOR_R_ENC_SIGNAL_Pin BUMPER_HIT_RIGHT_Pin BASE_IR_FRONT_R_Pin */
  GPIO_InitStruct.Pin = BASE_IR_RIGHT_Pin|MOTOR_R_ENC_SIGNAL_Pin|BUMPER_HIT_RIGHT_Pin|BASE_IR_FRONT_R_Pin;
  GPIO_InitStruct.Mode = GPIO_MODE_IT_RISING_FALLING;
  GPIO_InitStruct.Pull = GPIO_PULLUP;
  HAL_GPIO_Init(GPIOE, &GPIO_InitStruct);

  /*Configure GPIO pin : ROBOT_TOUCH_BUTTON_Pin */
  GPIO_InitStruct.Pin = ROBOT_TOUCH_BUTTON_Pin;
  GPIO_InitStruct.Mode = GPIO_MODE_IT_RISING_FALLING;
  GPIO_InitStruct.Pull = GPIO_NOPULL;
  HAL_GPIO_Init(ROBOT_TOUCH_BUTTON_GPIO_Port, &GPIO_InitStruct);

  /*Configure GPIO pins : FRONT_IR_Q11_PULSE_Pin MOTOR_L_PHASE_Pin */
  GPIO_InitStruct.Pin = FRONT_IR_Q11_PULSE_Pin|MOTOR_L_PHASE_Pin;
  GPIO_InitStruct.Mode = GPIO_MODE_OUTPUT_PP;
  GPIO_InitStruct.Pull = GPIO_NOPULL;
  GPIO_InitStruct.Speed = GPIO_SPEED_FREQ_LOW;
  HAL_GPIO_Init(GPIOB, &GPIO_InitStruct);

  /*Configure GPIO pins : BASE_IR_FRONT_L_Pin BUMPER_HIT_LEFT_Pin */
  GPIO_InitStruct.Pin = BASE_IR_FRONT_L_Pin|BUMPER_HIT_LEFT_Pin;
  GPIO_InitStruct.Mode = GPIO_MODE_IT_RISING_FALLING;
  GPIO_InitStruct.Pull = GPIO_PULLUP;
  HAL_GPIO_Init(GPIOB, &GPIO_InitStruct);

  /*Configure GPIO pins : MOTOR_L_NFAULT_Pin MOTOR_R_NFAULT_Pin */
  GPIO_InitStruct.Pin = MOTOR_L_NFAULT_Pin|MOTOR_R_NFAULT_Pin;
  GPIO_InitStruct.Mode = GPIO_MODE_INPUT;
  GPIO_InitStruct.Pull = GPIO_PULLUP;
  HAL_GPIO_Init(GPIOD, &GPIO_InitStruct);

  /*Configure GPIO pins : BASE_IR_LEFT_Pin CASTER_ODO_Pin MOTOR_L_ENC_SIGNAL_Pin BASE_IR_REAR_Pin */
  GPIO_InitStruct.Pin = BASE_IR_LEFT_Pin|CASTER_ODO_Pin|MOTOR_L_ENC_SIGNAL_Pin|BASE_IR_REAR_Pin;
  GPIO_InitStruct.Mode = GPIO_MODE_IT_RISING_FALLING;
  GPIO_InitStruct.Pull = GPIO_PULLUP;
  HAL_GPIO_Init(GPIOD, &GPIO_InitStruct);

  /*Configure GPIO pin : Q24_Pin */
  GPIO_InitStruct.Pin = Q24_Pin;
  GPIO_InitStruct.Mode = GPIO_MODE_OUTPUT_OD;
  GPIO_InitStruct.Pull = GPIO_NOPULL;
  GPIO_InitStruct.Speed = GPIO_SPEED_FREQ_LOW;
  HAL_GPIO_Init(Q24_GPIO_Port, &GPIO_InitStruct);

  /* EXTI interrupt init*/
  HAL_NVIC_SetPriority(EXTI0_1_IRQn, 1, 0);
  HAL_NVIC_EnableIRQ(EXTI0_1_IRQn);

  HAL_NVIC_SetPriority(EXTI2_3_IRQn, 2, 0);
  HAL_NVIC_EnableIRQ(EXTI2_3_IRQn);

  HAL_NVIC_SetPriority(EXTI4_15_IRQn, 1, 0);
  HAL_NVIC_EnableIRQ(EXTI4_15_IRQn);

}

/* USER CODE BEGIN 4 */

/* Single HAL EXTI dispatcher (the IRQ vectors in stm32f0xx_it.c call
 * HAL_GPIO_EXTI_IRQHandler per line, which clears the pending bit and lands
 * here with exactly the firing pin). Each driver only latches/counts. */
void HAL_GPIO_EXTI_Callback(uint16_t GPIO_Pin)
{
  switch (GPIO_Pin)
  {
    case ROBOT_TOUCH_BUTTON_Pin:      /* PA0  EXTI0 */
      RobotButton_OnEdge();
      break;
    case BUMPER_HIT_LEFT_Pin:        /* PB5  EXTI5  */
    case BUMPER_HIT_RIGHT_Pin:       /* PE12 EXTI12 */
      BumperHit_OnEdge(GPIO_Pin);
      break;
    case CASTER_ODO_Pin:             /* PD2  EXTI2  */
      CasterOdo_OnEdge();
      break;
    case MOTOR_L_ENC_SIGNAL_Pin:     /* PD3  EXTI3  */
    case MOTOR_R_ENC_SIGNAL_Pin:     /* PE8  EXTI8  */
      MotorControl_OnEncoderEdge(GPIO_Pin);
      break;
    case BASE_IR_FRONT_L_Pin:        /* PB11 EXTI11 */
      IrRemote_OnEdge(IR_RX_FRONT_L);
      break;
    case BASE_IR_FRONT_R_Pin:        /* PE15 EXTI15 */
      IrRemote_OnEdge(IR_RX_FRONT_R);
      break;
    case BASE_IR_LEFT_Pin:           /* PD13 EXTI13 */
      IrRemote_OnEdge(IR_RX_LEFT);
      break;
    case BASE_IR_RIGHT_Pin:          /* PE6  EXTI6  */
      IrRemote_OnEdge(IR_RX_RIGHT);
      break;
    case BASE_IR_REAR_Pin:           /* PD4  EXTI4  */
      IrRemote_OnEdge(IR_RX_REAR);
      break;
    default:
      break;
  }
}

/* USER CODE END 4 */

void Error_Handler(void)
{
  __disable_irq();
  while (1)
  {
  }
}
